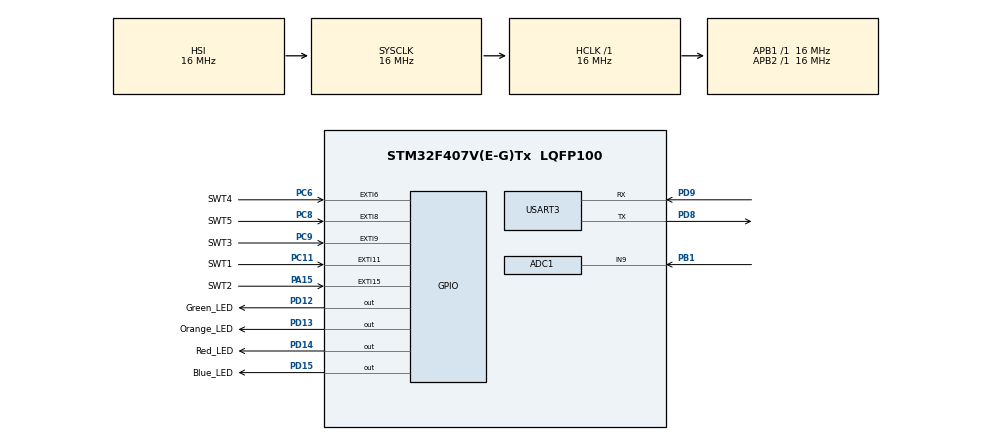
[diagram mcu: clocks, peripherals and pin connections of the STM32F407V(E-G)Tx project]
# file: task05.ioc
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ADC1.Channel-0\#ChannelRegularConversion=ADC_CHANNEL_9
ADC1.ClockPrescaler=ADC_CLOCK_SYNC_PCLK_DIV8
ADC1.ContinuousConvMode=DISABLE
ADC1.ExternalTrigConv=ADC_EXTERNALTRIGCONV_T2_TRGO
ADC1.ExternalTrigConvEdge=ADC_EXTERNALTRIGCONVEDGE_RISINGFALLING
ADC1.NbrOfConversion=1
ADC1.NbrOfConversionFlag=1
ADC1.Rank-0\#ChannelRegularConversion=1
ADC1.SamplingTime-0\#ChannelRegularConversion=ADC_SAMPLETIME_480CYCLES
ADC1.master=1
Mcu.Family=STM32F4
Mcu.Name=STM32F407V(E-G)Tx
Mcu.Package=LQFP100
NVIC.ADC_IRQn=true\:0\:0\:false\:false\:true\:true\:true\:true
NVIC.EXTI15_10_IRQn=true\:0\:0\:false\:false\:true\:true\:true\:true
NVIC.EXTI9_5_IRQn=true\:0\:0\:false\:false\:true\:true\:true\:true
NVIC.PriorityGroup=NVIC_PRIORITYGROUP_4
PA15.GPIO_Label=SWT2
PA15.Signal=GPXTI15
PB1.Signal=ADCx_IN9
PC11.GPIO_Label=SWT1
PC11.Signal=GPXTI11
PC6.GPIO_Label=SWT4
PC6.Signal=GPXTI6
PC8.GPIO_Label=SWT5
PC8.Signal=GPXTI8
PC9.GPIO_Label=SWT3
PC9.Signal=GPXTI9
PD12.GPIO_Label=Green_LED
PD12.Signal=GPIO_Output
PD13.GPIO_Label=Orange_LED
PD13.Signal=GPIO_Output
PD14.GPIO_Label=Red_LED
PD14.Signal=GPIO_Output
PD15.GPIO_Label=Blue_LED
PD15.Signal=GPIO_Output
PD8.Mode=Asynchronous
PD8.Signal=USART3_TX
PD9.Mode=Asynchronous
PD9.Signal=USART3_RX
ProjectManager.HeapSize=0x200
ProjectManager.StackSize=0x400
ProjectManager.TargetToolchain=STM32CubeIDE
RCC.AHBFreq_Value=16000000
RCC.APB1Freq_Value=16000000
RCC.APB2Freq_Value=16000000
RCC.CortexFreq_Value=16000000
RCC.HSE_VALUE=25000000
RCC.HSI_VALUE=16000000
RCC.LSE_VALUE=32768
RCC.SYSCLKFreq_VALUE=16000000
RCC.VCOOutputFreq_Value=192000000
SH.ADCx_IN9.0=ADC1_IN9,IN9
TIM2.Period=5000-1
TIM2.Prescaler=16000-1
TIM2.TIM_MasterOutputTrigger=TIM_TRGO_UPDATE
USART3.VirtualMode=VM_ASYNC
VP_TIM2_VS_ClockSourceINT.Mode=Internal
board=custom

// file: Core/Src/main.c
/* USER CODE BEGIN Header */
/**
  ******************************************************************************
  * @file           : main.c
  * @brief          : Main program body
  ******************************************************************************
  * @attention
  *
  * Copyright (c) 2023 STMicroelectronics.
  * All rights reserved.
  *
  * This software is licensed under terms that can be found in the LICENSE file
  * in the root directory of this software component.
  * If no LICENSE file comes with this software, it is provided AS-IS.
  *
  ******************************************************************************
  */
/* USER CODE END Header */
#include "main.h"

ADC_HandleTypeDef hadc1;

TIM_HandleTypeDef htim2;

UART_HandleTypeDef huart3;

/* USER CODE BEGIN PV */

const float RESULUTION = 4096;
float voltage = 2.95;//3.3;

typedef enum
{
	  LED_OFF,
	  LED_ON
} led_status_t;

typedef enum
{
	  LED_Blue,
	  LED_Red,
	  LED_Orange,
	  LED_Green
} led_color_t;

led_status_t led_state[4] = {};

/* USER CODE END PV */

void SystemClock_Config(void);
static void MX_GPIO_Init(void);
static void MX_USART3_UART_Init(void);
static void MX_ADC1_Init(void);
static void MX_TIM2_Init(void);
/* USER CODE BEGIN PFP */

char* getStatusText(led_status_t led_state);
char* convertVoltageToCelsius(float adcVoltage_Value);

/* USER CODE END PFP */

int main(void)
{

  /* MCU Configuration--------------------------------------------------------*/

  /* Reset of all peripherals, Initializes the Flash interface and the Systick. */
  HAL_Init();

  /* Configure the system clock */
  SystemClock_Config();

  /* Initialize all configured peripherals */
  MX_GPIO_Init();
  MX_USART3_UART_Init();
  MX_ADC1_Init();
  MX_TIM2_Init();
  /* USER CODE BEGIN 2 */

  HAL_TIM_Base_Start(&htim2);
  HAL_ADC_Start_IT(&hadc1);

  /* USER CODE END 2 */

  /* Infinite loop */
  /* USER CODE BEGIN WHILE */
  while (1)
  {
	uint8_t rcvBuf[1];
	HAL_StatusTypeDef result;
	char* statusText;

	result = HAL_UART_Receive(&huart3, rcvBuf, 1, 10);

	if (result == HAL_OK)
	{
		switch (rcvBuf[0])
		{
			case 'b':
				HAL_GPIO_TogglePin(Blue_LED_GPIO_Port, Blue_LED_Pin);
				led_state[LED_Blue] = (led_state[LED_Blue] + 1) % 2;
				HAL_UART_Transmit(&huart3, (uint8_t *)"Blue ", 5, 10);

				statusText = getStatusText(led_state[LED_Blue]);
				HAL_UART_Transmit(&huart3, (uint8_t *)  statusText, 3, 10);
				break;

			case 'r':
				HAL_GPIO_TogglePin(Red_LED_GPIO_Port, Red_LED_Pin);
				led_state[LED_Red] = (led_state[LED_Red] + 1) % 2;
				HAL_UART_Transmit(&huart3, (uint8_t *)  "Red ", 4, 10);

				statusText = getStatusText(led_state[LED_Red]);
				HAL_UART_Transmit(&huart3, (uint8_t *)  statusText, 3, 10);
				break;

			case 'o':
				HAL_GPIO_TogglePin(Orange_LED_GPIO_Port, Orange_LED_Pin);
				led_state[LED_Orange] = (led_state[LED_Orange] + 1) % 2;
				HAL_UART_Transmit(&huart3, (uint8_t *)"Orange ", 7, 10);

				statusText = getStatusText(led_state[LED_Orange]);
				HAL_UART_Transmit(&huart3, (uint8_t *)  statusText, 3, 10);
				break;

			case 'g':
				HAL_GPIO_TogglePin(Green_LED_GPIO_Port, Green_LED_Pin);
				led_state[LED_Green] = (led_state[LED_Green] + 1) % 2;
				HAL_UART_Transmit(&huart3, (uint8_t *)"Green ", 6, 10);

				statusText = getStatusText(led_state[LED_Green]);
				HAL_UART_Transmit(&huart3, (uint8_t *)  statusText, 3, 10);
				break;

			default:
				HAL_UART_Transmit(&huart3, (uint8_t *)"\r\nUnexpCmd", 10, 10);
				break;
		}
	}

    /* USER CODE END WHILE */

  }
}

void SystemClock_Config(void)
{
  RCC_OscInitTypeDef RCC_OscInitStruct = {0};
  RCC_ClkInitTypeDef RCC_ClkInitStruct = {0};

  /** Configure the main internal regulator output voltage
  */
  __HAL_RCC_PWR_CLK_ENABLE();
  __HAL_PWR_VOLTAGESCALING_CONFIG(PWR_REGULATOR_VOLTAGE_SCALE1);

  /** Initializes the RCC Oscillators according to the specified parameters
  * in the RCC_OscInitTypeDef structure.
  */
  RCC_OscInitStruct.OscillatorType = RCC_OSCILLATORTYPE_HSI;
  RCC_OscInitStruct.HSIState = RCC_HSI_ON;
  RCC_OscInitStruct.HSICalibrationValue = RCC_HSICALIBRATION_DEFAULT;
  RCC_OscInitStruct.PLL.PLLState = RCC_PLL_NONE;
  if (HAL_RCC_OscConfig(&RCC_OscInitStruct) != HAL_OK)
  {
    Error_Handler();
  }

  /** Initializes the CPU, AHB and APB buses clocks
  */
  RCC_ClkInitStruct.ClockType = RCC_CLOCKTYPE_HCLK|RCC_CLOCKTYPE_SYSCLK
                              |RCC_CLOCKTYPE_PCLK1|RCC_CLOCKTYPE_PCLK2;
  RCC_ClkInitStruct.SYSCLKSource = RCC_SYSCLKSOURCE_HSI;
  RCC_ClkInitStruct.AHBCLKDivider = RCC_SYSCLK_DIV1;
  RCC_ClkInitStruct.APB1CLKDivider = RCC_HCLK_DIV1;
  RCC_ClkInitStruct.APB2CLKDivider = RCC_HCLK_DIV1;

  if (HAL_RCC_ClockConfig(&RCC_ClkInitStruct, FLASH_LATENCY_0) != HAL_OK)
  {
    Error_Handler();
  }
}

static void MX_ADC1_Init(void)
{

  ADC_ChannelConfTypeDef sConfig = {0};

  /** Configure the global features of the ADC (Clock, Resolution, Data Alignment and number of conversion)
  */
  hadc1.Instance = ADC1;
  hadc1.Init.ClockPrescaler = ADC_CLOCK_SYNC_PCLK_DIV8;
  hadc1.Init.Resolution = ADC_RESOLUTION_12B;
  hadc1.Init.ScanConvMode = DISABLE;
  hadc1.Init.ContinuousConvMode = DISABLE;
  hadc1.Init.DiscontinuousConvMode = DISABLE;
  hadc1.Init.ExternalTrigConvEdge = ADC_EXTERNALTRIGCONVEDGE_RISINGFALLING;
  hadc1.Init.ExternalTrigConv = ADC_EXTERNALTRIGCONV_T2_TRGO;
  hadc1.Init.DataAlign = ADC_DATAALIGN_RIGHT;
  hadc1.Init.NbrOfConversion = 1;
  hadc1.Init.DMAContinuousRequests = DISABLE;
  hadc1.Init.EOCSelection = ADC_EOC_SINGLE_CONV;
  if (HAL_ADC_Init(&hadc1) != HAL_OK)
  {
    Error_Handler();
  }

  /** Configure for the selected ADC regular channel its corresponding rank in the sequencer and its sample time.
  */
  sConfig.Channel = ADC_CHANNEL_9;
  sConfig.Rank = 1;
  sConfig.SamplingTime = ADC_SAMPLETIME_480CYCLES;
  if (HAL_ADC_ConfigChannel(&hadc1, &sConfig) != HAL_OK)
  {
    Error_Handler();
  }

}

static void MX_TIM2_Init(void)
{

  TIM_ClockConfigTypeDef sClockSourceConfig = {0};
  TIM_MasterConfigTypeDef sMasterConfig = {0};

  htim2.Instance = TIM2;
  htim2.Init.Prescaler = 16000-1;
  htim2.Init.CounterMode = TIM_COUNTERMODE_UP;
  htim2.Init.Period = 5000-1;
  htim2.Init.ClockDivision = TIM_CLOCKDIVISION_DIV1;
  htim2.Init.AutoReloadPreload = TIM_AUTORELOAD_PRELOAD_DISABLE;
  if (HAL_TIM_Base_Init(&htim2) != HAL_OK)
  {
    Error_Handler();
  }
  sClockSourceConfig.ClockSource = TIM_CLOCKSOURCE_INTERNAL;
  if (HAL_TIM_ConfigClockSource(&htim2, &sClockSourceConfig) != HAL_OK)
  {
    Error_Handler();
  }
  sMasterConfig.MasterOutputTrigger = TIM_TRGO_UPDATE;
  sMasterConfig.MasterSlaveMode = TIM_MASTERSLAVEMODE_DISABLE;
  if (HAL_TIMEx_MasterConfigSynchronization(&htim2, &sMasterConfig) != HAL_OK)
  {
    Error_Handler();
  }

}

static void MX_USART3_UART_Init(void)
{

  huart3.Instance = USART3;
  huart3.Init.BaudRate = 115200;
  huart3.Init.WordLength = UART_WORDLENGTH_8B;
  huart3.Init.StopBits = UART_STOPBITS_1;
  huart3.Init.Parity = UART_PARITY_NONE;
  huart3.Init.Mode = UART_MODE_TX_RX;
  huart3.Init.HwFlowCtl = UART_HWCONTROL_NONE;
  huart3.Init.OverSampling = UART_OVERSAMPLING_16;
  if (HAL_UART_Init(&huart3) != HAL_OK)
  {
    Error_Handler();
  }

}

static void MX_GPIO_Init(void)
{
  GPIO_InitTypeDef GPIO_InitStruct = {0};

  /* GPIO Ports Clock Enable */
  __HAL_RCC_GPIOB_CLK_ENABLE();
  __HAL_RCC_GPIOD_CLK_ENABLE();
  __HAL_RCC_GPIOC_CLK_ENABLE();
  __HAL_RCC_GPIOA_CLK_ENABLE();

  /*Configure GPIO pin Output Level */
  HAL_GPIO_WritePin(GPIOD, Green_LED_Pin|Orange_LED_Pin|Red_LED_Pin|Blue_LED_Pin, GPIO_PIN_RESET);

  /*Configure GPIO pins : Green_LED_Pin Orange_LED_Pin Red_LED_Pin Blue_LED_Pin */
  GPIO_InitStruct.Pin = Green_LED_Pin|Orange_LED_Pin|Red_LED_Pin|Blue_LED_Pin;
  GPIO_InitStruct.Mode = GPIO_MODE_OUTPUT_PP;
  GPIO_InitStruct.Pull = GPIO_NOPULL;
  GPIO_InitStruct.Speed = GPIO_SPEED_FREQ_LOW;
  HAL_GPIO_Init(GPIOD, &GPIO_InitStruct);

  /*Configure GPIO pins : SWT4_Pin SWT5_Pin SWT3_Pin SWT1_Pin */
  GPIO_InitStruct.Pin = SWT4_Pin|SWT5_Pin|SWT3_Pin|SWT1_Pin;
  GPIO_InitStruct.Mode = GPIO_MODE_IT_RISING;
  GPIO_InitStruct.Pull = GPIO_NOPULL;
  HAL_GPIO_Init(GPIOC, &GPIO_InitStruct);

  /*Configure GPIO pin : SWT2_Pin */
  GPIO_InitStruct.Pin = SWT2_Pin;
  GPIO_InitStruct.Mode = GPIO_MODE_IT_RISING;
  GPIO_InitStruct.Pull = GPIO_NOPULL;
  HAL_GPIO_Init(SWT2_GPIO_Port, &GPIO_InitStruct);

  /* EXTI interrupt init*/
  HAL_NVIC_SetPriority(EXTI9_5_IRQn, 0, 0);
  HAL_NVIC_EnableIRQ(EXTI9_5_IRQn);

  HAL_NVIC_SetPriority(EXTI15_10_IRQn, 0, 0);
  HAL_NVIC_EnableIRQ(EXTI15_10_IRQn);

}

/* USER CODE BEGIN 4 */

void HAL_GPIO_EXTI_Callback(uint16_t GPIO_Pin)
{
	char* statusText;

	if (GPIO_Pin == SWT1_Pin)
	{
		HAL_GPIO_TogglePin(Blue_LED_GPIO_Port, Blue_LED_Pin);
		led_state[LED_Blue] = (led_state[LED_Blue] + 1) % 2;
		HAL_UART_Transmit(&huart3, (uint8_t *)"\r\nBlue ", 8, 10);

		statusText = getStatusText(led_state[LED_Blue]);
		HAL_UART_Transmit(&huart3, (uint8_t *)  statusText, 3, 10);
	}
	if (GPIO_Pin == SWT2_Pin)
	{
		//Debug_Button
		//voltage-=0.05;
	}
	if (GPIO_Pin == SWT3_Pin)
	{
		HAL_GPIO_TogglePin(Orange_LED_GPIO_Port, Orange_LED_Pin);
		led_state[LED_Orange] = (led_state[LED_Orange] + 1) % 2;
		HAL_UART_Transmit(&huart3, (uint8_t *)"\r\nOrange ", 9, 10);

		statusText = getStatusText(led_state[LED_Orange]);
		HAL_UART_Transmit(&huart3, (uint8_t *)  statusText, 3, 10);
	}
	if (GPIO_Pin == SWT4_Pin)
	{
		HAL_GPIO_TogglePin(Red_LED_GPIO_Port, Red_LED_Pin);
		led_state[LED_Red] = (led_state[LED_Red] + 1) % 2;
		HAL_UART_Transmit(&huart3, (uint8_t *)"\r\nRed ", 6, 10);

		statusText = getStatusText(led_state[LED_Red]);
		HAL_UART_Transmit(&huart3, (uint8_t *)  statusText, 3, 10);
	}
	if (GPIO_Pin == SWT5_Pin)
	{
		HAL_GPIO_TogglePin(Green_LED_GPIO_Port, Green_LED_Pin);
		led_state[LED_Green] = (led_state[LED_Green] + 1) % 2;
		HAL_UART_Transmit(&huart3, (uint8_t *)"\r\nGreen ", 8, 10);

		statusText = getStatusText(led_state[LED_Green]);
		HAL_UART_Transmit(&huart3, (uint8_t *)  statusText, 3, 10);
	}

}

char* getStatusText(led_status_t led_state)
{
	switch (led_state) {
		case LED_ON:
			return "ON";
			break;

		case LED_OFF:
			return "OFF";
			break;

		default:
			return "Error";
			break;
	}
}

void HAL_ADC_ConvCpltCallback(ADC_HandleTypeDef* hadc)
{
	float adc_Value = (float)HAL_ADC_GetValue(&hadc1);
	char* txbuf = convertVoltageToCelsius(adc_Value);

	HAL_UART_Transmit(&huart3, (uint8_t*)txbuf, 7, 10);
}

// Celsius from 0 to 99.99
char* convertVoltageToCelsius(float adcVoltage_Value)
{
	float celsius;
	float stepVoltage = RESULUTION / voltage;

	celsius = (2.02 - adcVoltage_Value / stepVoltage) / 0.02;

	static char txbuf[7];
	txbuf[0] = '\r';
	txbuf[1] = '\n';
	txbuf[2] = (char) (celsius / 10) % 10 + '0';
	txbuf[3] = (char)celsius % 10 + '0';
	txbuf[4] = '.';
	txbuf[5] = (char)(celsius*10) % 10 + '0';
	txbuf[6] = (char)(celsius*100) % 10 + '0';

	return txbuf;
}

/* USER CODE END 4 */

void Error_Handler(void)
{
  __disable_irq();
  while (1)
  {
  }
}
